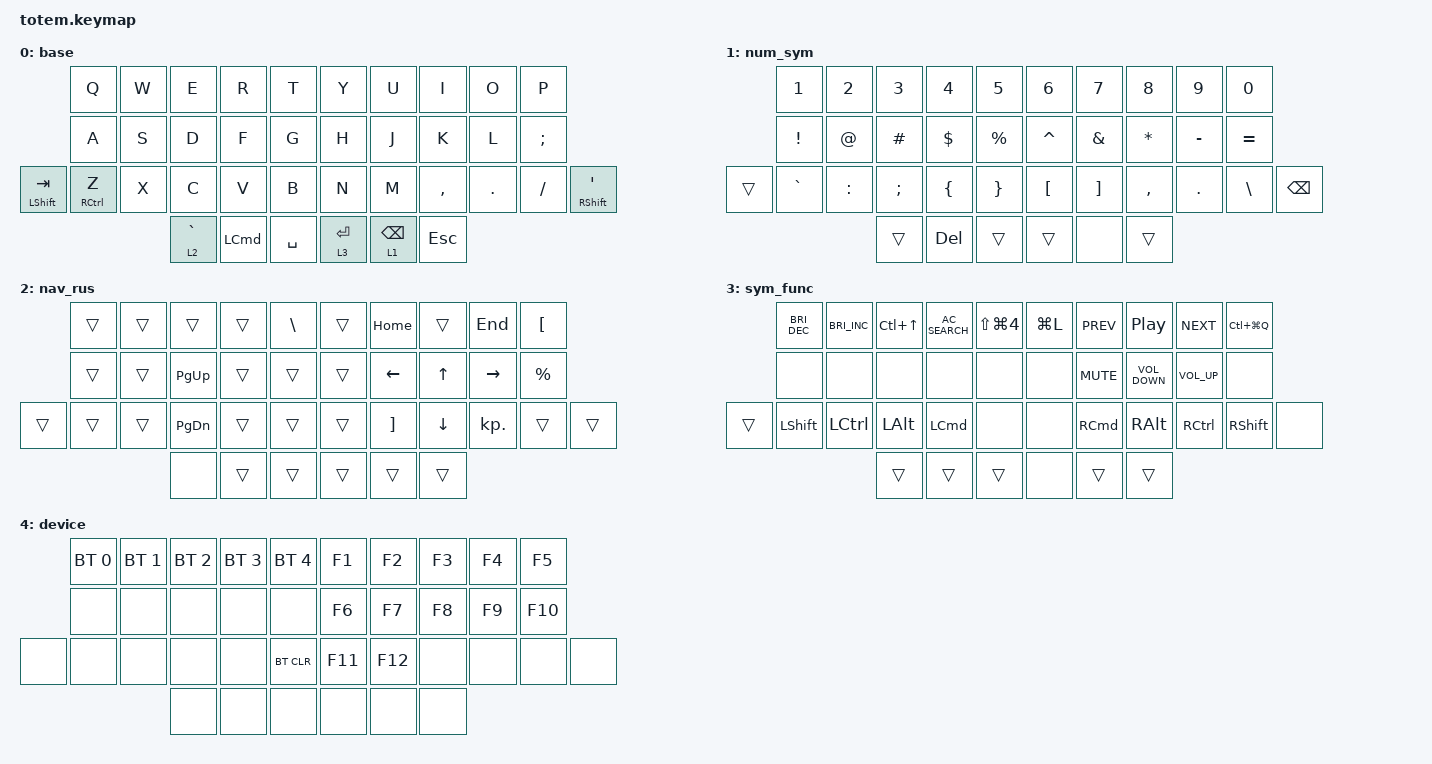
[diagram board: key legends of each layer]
//
//                                                        ▀▀▀▀▀     ▀▀▀▀▀          ▀▀█▀▀
//                                                        ▄▀▀▀▄  ▄  ▄▀▀▀▄  ▄  ▄▀▀▀▄  █  ▄▀▀▀▄
//                                                        █   █  █  █   █  █  █   █  █  █   █
//                                                         ▀▀▀   █   ▀▀▀   █   ▀▀▀   ▀   ▀▀▀
//                                                               █      ▄▄▄█▄▄▄    █   █  
//                                                               ▀      █  █  █     █▄█
//                                                             ▀▀▀▀▀    █  █  █      ▀
//                                                                      ▀  ▀  ▀
//
// ▄▄▄▄▄▄▄▄▄▄▄▄▄▄▄▄▄▄▄▄▄▄▄▄▄▄▄▄▄▄▄▄▄▄▄▄▄▄▄▄▄▄▄▄▄▄▄▄▄▄▄▄▄▄▄▄▄▄▄▄▄▄▄▄▄▄▄▄▄▄▄▄▄▄▄▄▄▄▄▄
// Miryoku Layout
// ▄▄▄▄▄▄▄▄▄▄▄▄▄▄▄▄▄▄▄▄▄▄▄▄▄▄▄▄▄▄▄▄▄▄▄▄▄▄▄▄▄▄▄▄▄▄▄▄▄▄▄▄▄▄▄▄▄▄▄▄▄▄▄▄▄▄▄▄▄▄▄▄▄▄▄▄▄▄▄▄

#include <behaviors.dtsi>
#include <dt-bindings/zmk/bt.h>
#include <dt-bindings/zmk/keys.h>

/ {
    combos {
        compatible = "zmk,combos";

        backspace {
            bindings = <&kp BACKSPACE>;
            key-positions = <18 19>;
        };

        enter {
            bindings = <&kp ENTER>;
            key-positions = <16 17>;
        };
    };

    keymap {
        compatible = "zmk,keymap";

        base {
            bindings = <
                    &kp Q        &kp W  &kp E        &kp R             &kp T        &kp Y        &kp U            &kp I       &kp O    &kp P
                    &kp A        &kp S  &kp D        &kp F             &kp G        &kp H        &kp J            &kp K       &kp L    &kp SEMI
&mt LEFT_SHIFT TAB  &mt RCTRL Z  &kp X  &kp C        &kp V             &kp B        &kp N        &kp M            &kp COMMA   &kp DOT  &kp SLASH  &mt RIGHT_SHIFT SQT
                                        &lt 2 GRAVE  &kp LEFT_COMMAND  &kp SPACE    &lt 3 ENTER  &lt 1 BACKSPACE  &kp ESCAPE
            >;
        };

        num_sym {
            bindings = <
        &kp NUMBER_1     &kp NUMBER_2  &kp NUMBER_3   &kp NUMBER_4    &kp NUMBER_5       &kp NUMBER_6      &kp N7             &kp NUMBER_8  &kp NUMBER_9  &kp NUMBER_0
        &kp EXCLAMATION  &kp AT        &kp POUND      &kp DOLLAR      &kp PERCENT        &kp CARET         &kp AMPERSAND      &kp ASTERISK  &kp MINUS     &kp EQUAL
&trans  &kp GRAVE        &kp COLON     &kp SEMICOLON  &kp LEFT_BRACE  &kp RIGHT_BRACE    &kp LEFT_BRACKET  &kp RIGHT_BRACKET  &kp COMMA     &kp PERIOD    &kp BACKSLASH  &kp BACKSPACE
                                       &trans         &kp DELETE      &trans             &trans            &none              &trans
            >;
        };

        nav_rus {
            bindings = <
        &trans  &trans  &trans         &trans  &kp BACKSLASH    &trans  &kp HOME  &trans    &kp END     &kp LBKT
        &trans  &trans  &kp PAGE_UP    &trans  &trans           &trans  &kp LEFT  &kp UP    &kp RIGHT   &kp PERCENT
&trans  &trans  &trans  &kp PAGE_DOWN  &trans  &trans           &trans  &kp RBKT  &kp DOWN  &kp KP_DOT  &trans       &trans
                        &none          &trans  &trans           &trans  &trans    &trans
            >;
        };

        sym_func {
            bindings = <
        &kp C_BRIGHTNESS_DEC  &kp C_BRIGHTNESS_INC  &kp LC(UP)    &kp C_AC_SEARCH   &kp LS(LG(NUMBER_4))    &kp LG(L)  &kp C_PREV         &kp C_PLAY_PAUSE   &kp C_NEXT         &kp LC(LG(Q))
        &none                 &none                 &none         &none             &none                   &none      &kp C_MUTE         &kp C_VOLUME_DOWN  &kp C_VOL_UP       &none
&trans  &kp LEFT_SHIFT        &kp LEFT_CONTROL      &kp LEFT_ALT  &kp LEFT_COMMAND  &none                   &none      &kp RIGHT_COMMAND  &kp RIGHT_ALT      &kp RIGHT_CONTROL  &kp RIGHT_SHIFT  &none
                                                    &trans        &trans            &trans                  &none      &trans             &trans
            >;
        };

        device {
            bindings = <
       &bt BT_SEL 0  &bt BT_SEL 1  &bt BT_SEL 2  &bt BT_SEL 3  &bt BT_SEL 4    &kp F1   &kp F2   &kp F3  &kp F4  &kp F5
       &none         &none         &none         &none         &none           &kp F6   &kp F7   &kp F8  &kp F9  &kp F10
&none  &none         &none         &none         &none         &bt BT_CLR      &kp F11  &kp F12  &none   &none   &none    &none
                                   &none         &none         &none           &none    &none    &none
            >;
        };
    };

    conditional_layers {
        compatible = "zmk,conditional-layers";

        device {
            if-layers = <1 3>;
            then-layer = <4>;
        };
    };
};
